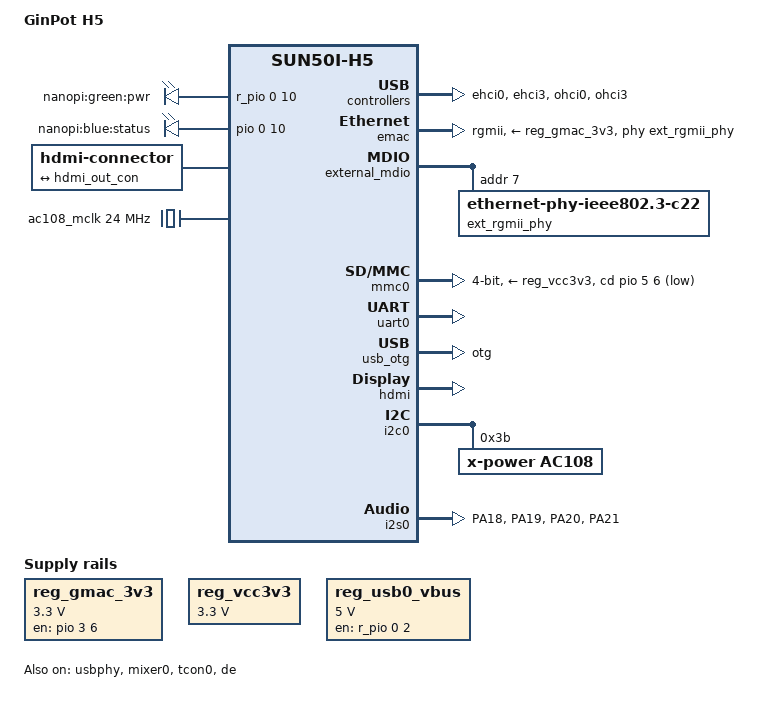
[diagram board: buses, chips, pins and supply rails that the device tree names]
/*
 * Copyright (C) 2017 Icenowy Zheng <icenowy@aosc.io>
 *
 * This file is dual-licensed: you can use it either under the terms
 * of the GPL or the X11 license, at your option. Note that this dual
 * licensing only applies to this file, and not this project as a
 * whole.
 *
 *  a) This file is free software; you can redistribute it and/or
 *     modify it under the terms of the GNU General Public License as
 *     published by the Free Software Foundation; either version 2 of the
 *     License, or (at your option) any later version.
 *
 *     This file is distributed in the hope that it will be useful,
 *     but WITHOUT ANY WARRANTY; without even the implied warranty of
 *     MERCHANTABILITY or FITNESS FOR A PARTICULAR PURPOSE.  See the
 *     GNU General Public License for more details.
 *
 * Or, alternatively,
 *
 *  b) Permission is hereby granted, free of charge, to any person
 *     obtaining a copy of this software and associated documentation
 *     files (the "Software"), to deal in the Software without
 *     restriction, including without limitation the rights to use,
 *     copy, modify, merge, publish, distribute, sublicense, and/or
 *     sell copies of the Software, and to permit persons to whom the
 *     Software is furnished to do so, subject to the following
 *     conditions:
 *
 *     The above copyright notice and this permission notice shall be
 *     included in all copies or substantial portions of the Software.
 *
 *     THE SOFTWARE IS PROVIDED "AS IS", WITHOUT WARRANTY OF ANY KIND,
 *     EXPRESS OR IMPLIED, INCLUDING BUT NOT LIMITED TO THE WARRANTIES
 *     OF MERCHANTABILITY, FITNESS FOR A PARTICULAR PURPOSE AND
 *     NONINFRINGEMENT. IN NO EVENT SHALL THE AUTHORS OR COPYRIGHT
 *     HOLDERS BE LIABLE FOR ANY CLAIM, DAMAGES OR OTHER LIABILITY,
 *     WHETHER IN AN ACTION OF CONTRACT, TORT OR OTHERWISE, ARISING
 *     FROM, OUT OF OR IN CONNECTION WITH THE SOFTWARE OR THE USE OR
 *     OTHER DEALINGS IN THE SOFTWARE.
 */

/dts-v1/;
#include "sun50i-h5.dtsi"

#include <dt-bindings/gpio/gpio.h>

&fixed_clock {
	ac108_mclk: codec-mclk {
		compatible = "fixed-clock";
		#clock-cells = <0>;
		clock-frequency = <24000000>;
	};
};

/ {
	model = "GinPot H5";
	compatible = "ginpot,h5", "allwinner,sun50i-h5";

	aliases {
		ethernet0 = &emac;
		serial0 = &uart0;
		i2c0 = &i2c0;
	};

	chosen {
		stdout-path = "serial0:115200n8";
	};

	leds {
		compatible = "gpio-leds";

		pwr {
			label = "nanopi:green:pwr";
			gpios = <&r_pio 0 10 GPIO_ACTIVE_HIGH>;
			default-state = "on";
		};

		status {
			label = "nanopi:blue:status";
			gpios = <&pio 0 10 GPIO_ACTIVE_HIGH>;
			linux,default-trigger = "heartbeat";
		};
	};

	reg_gmac_3v3: gmac-3v3 {
		compatible = "regulator-fixed";
		regulator-name = "gmac-3v3";
		regulator-min-microvolt = <3300000>;
		regulator-max-microvolt = <3300000>;
		startup-delay-us = <100000>;
		enable-active-high;
		gpio = <&pio 3 6 GPIO_ACTIVE_HIGH>;
	};

	reg_vcc3v3: vcc3v3 {
		compatible = "regulator-fixed";
		regulator-name = "vcc3v3";
		regulator-min-microvolt = <3300000>;
		regulator-max-microvolt = <3300000>;
	};

	reg_usb0_vbus: usb0-vbus {
		compatible = "regulator-fixed";
		regulator-name = "usb0-vbus";
		regulator-min-microvolt = <5000000>;
		regulator-max-microvolt = <5000000>;
		enable-active-high;
		gpio = <&r_pio 0 2 GPIO_ACTIVE_HIGH>; /* PL2 */
		status = "okay";
	};
	
	/********************hdmi display driver*****************/
    connector {
        compatible = "hdmi-connector";
        type = "a";

        port {
            hdmi_con_in: endpoint {
                remote-endpoint = <&hdmi_out_con>;
            };
        };
    };
	
	/********************WM8978 driver*****************/
    sound_i2s {
        compatible = "simple-audio-card";
        simple-audio-card,name = "WM8978";
        simple-audio-card,mclk-fs = <256>;
        simple-audio-card,format = "i2s";
		simple-audio-card,bitclock-master = <&cpudia>;
		simple-audio-card,frame-master = <&cpudia>;
        status = "disabled";

        cpudia: simple-audio-card,cpu {
            sound-dai = <&i2s0>;
        };

        simple-audio-card,codec {
            sound-dai = <&wm8978>;
        };
    };

	/********************AC108 driver*****************/
	sound_ac108 {
		compatible = "simple-audio-card";
		simple-audio-card,name = "ac108-card";
		simple-audio-card,format = "dsp_a";
		simple-audio-card,mclk-fs = <512>;
		

		simple-audio-card,bitclock-master = <&cpu_dai>;
		simple-audio-card,frame-master = <&cpu_dai>;
		simple-audio-card,channels-playback-override = <4>;
		simple-audio-card,channels-capture-override  = <4>;

		status = "okay";

		cpu_dai: simple-audio-card,cpu {
			sound-dai = <&i2s0>;
			dai-tdm-slot-num     = <4>;
			dai-tdm-slot-width   = <32>;
			dai-tdm-slot-tx-mask = <1 1 1 1>;
			dai-tdm-slot-rx-mask = <1 1 1 1>;
		};
		codec_dai: simple-audio-card,codec {
			sound-dai = <&ac108>;
			clocks =  <&ac108_mclk>;
		};
	};
};

&ehci0 {
	status = "okay";
};

&ehci3 {
	status = "okay";
};

&emac {
	pinctrl-names = "default";
	pinctrl-0 = <&emac_rgmii_pins>;
	phy-supply = <&reg_gmac_3v3>;
	phy-handle = <&ext_rgmii_phy>;
	phy-mode = "rgmii";
	status = "okay";
};

&external_mdio {
	ext_rgmii_phy: ethernet-phy@7 {
		compatible = "ethernet-phy-ieee802.3-c22";
		reg = <7>;
	};
};

&mmc0 {
	vmmc-supply = <&reg_vcc3v3>;
	bus-width = <4>;
	cd-gpios = <&pio 5 6 GPIO_ACTIVE_LOW>; /* PF6 */
	status = "okay";
};

&ohci0 {
	status = "okay";
};

&ohci3 {
	status = "okay";
};

&uart0 {
	pinctrl-names = "default";
	pinctrl-0 = <&uart0_pa_pins>;
	status = "okay";
};

&usb_otg {
	dr_mode = "otg";
	status = "okay";
};

&usbphy {
	/* USB Type-A port's VBUS is always on */
	usb0_id_det-gpios = <&pio 6 12 GPIO_ACTIVE_HIGH>; /* PG12 */
	usb0_vbus-supply = <&reg_usb0_vbus>;
	status = "okay";
};

/********************hdmi display driver*****************/
&mixer0 {
    status = "okay";
};
&tcon0 {
    status = "okay";
};
&hdmi {
    status = "okay";
};
&de {
    status = "okay";
};
&hdmi_out {
    hdmi_out_con: endpoint {
        remote-endpoint = <&hdmi_con_in>;
    };
};

/********************h5 audio driver*****************/
&codec {
	allwinner,audio-routing = 
		"Line Out", "LINEOUT",
		"MIC1", "Mic",
		"Mic",  "MBIAS";
	status = "disabled";
};

/********************WM8978 driver*****************/
&pio {
	i2s0_pins: i2s0 {
		pins = "PA18", "PA19", "PA20", "PA21";
		function = "i2s0";
	};
};
&i2c0 {
    status = "okay";
    wm8978: wm8978@1a {
        compatible = "wlf,wm8978";
        reg = <0x1a>;
		#sound-dai-cells = <0>;
		status = "disabled";
    };

	ac108: ac108@3b{
		compatible = "x-power,ac108";
		reg = <0x3b>;
		#sound-dai-cells = <0>;
		data-protocol = <0>;
	};
};
&i2s0 {
 	pinctrl-names = "default";
 	pinctrl-0 = <&i2s0_pins>;
 	#address-cells = <1>;
 	#size-cells = <0>;
    status = "okay";
};



